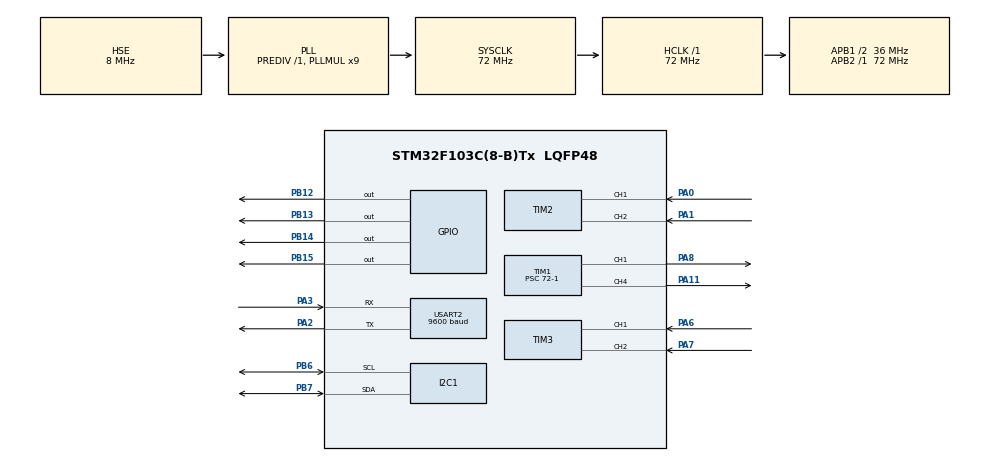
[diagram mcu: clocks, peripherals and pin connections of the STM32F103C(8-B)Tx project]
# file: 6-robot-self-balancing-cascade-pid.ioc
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I2C1.I2C_Mode=I2C_Fast
Mcu.Family=STM32F1
Mcu.Name=STM32F103C(8-B)Tx
Mcu.Package=LQFP48
NVIC.PriorityGroup=NVIC_PRIORITYGROUP_4
NVIC.TIM1_UP_IRQn=true\:0\:0\:false\:false\:true\:true\:true\:true
NVIC.TIM4_IRQn=true\:1\:0\:true\:false\:true\:true\:true\:true
NVIC.USART2_IRQn=true\:2\:0\:true\:false\:true\:true\:true\:true
PA0-WKUP.Signal=S_TIM2_CH1_ETR
PA1.Signal=S_TIM2_CH2
PA11.Signal=S_TIM1_CH4
PA2.Mode=Asynchronous
PA2.Signal=USART2_TX
PA3.Mode=Asynchronous
PA3.Signal=USART2_RX
PA6.Signal=S_TIM3_CH1
PA7.Signal=S_TIM3_CH2
PA8.Signal=S_TIM1_CH1
PB12.GPIO_Speed=GPIO_SPEED_FREQ_HIGH
PB12.Signal=GPIO_Output
PB13.GPIO_Speed=GPIO_SPEED_FREQ_HIGH
PB13.Signal=GPIO_Output
PB14.GPIO_Speed=GPIO_SPEED_FREQ_HIGH
PB14.Signal=GPIO_Output
PB15.GPIO_Speed=GPIO_SPEED_FREQ_HIGH
PB15.Signal=GPIO_Output
PB6.Mode=I2C
PB6.Signal=I2C1_SCL
PB7.Mode=I2C
PB7.Signal=I2C1_SDA
PD0-OSC_IN.Mode=HSE-External-Oscillator
PD0-OSC_IN.Signal=RCC_OSC_IN
PD1-OSC_OUT.Mode=HSE-External-Oscillator
PD1-OSC_OUT.Signal=RCC_OSC_OUT
ProjectManager.HeapSize=0x200
ProjectManager.StackSize=0x400
ProjectManager.TargetToolchain=STM32CubeIDE
RCC.AHBFreq_Value=72000000
RCC.APB1CLKDivider=RCC_HCLK_DIV2
RCC.APB1Freq_Value=36000000
RCC.APB1TimFreq_Value=72000000
RCC.APB2Freq_Value=72000000
RCC.APB2TimFreq_Value=72000000
RCC.HCLKFreq_Value=72000000
RCC.PLLMUL=RCC_PLL_MUL9
RCC.PLLSourceVirtual=RCC_PLLSOURCE_HSE
RCC.SYSCLKFreq_VALUE=72000000
RCC.SYSCLKSource=RCC_SYSCLKSOURCE_PLLCLK
RCC.USBFreq_Value=72000000
SH.S_TIM1_CH1.0=TIM1_CH1,PWM Generation1 CH1
SH.S_TIM1_CH4.0=TIM1_CH4,PWM Generation4 CH4
SH.S_TIM2_CH1_ETR.0=TIM2_CH1,Encoder_Interface
SH.S_TIM2_CH2.0=TIM2_CH2,Encoder_Interface
SH.S_TIM3_CH1.0=TIM3_CH1,Encoder_Interface
SH.S_TIM3_CH2.0=TIM3_CH2,Encoder_Interface
TIM1.Channel-PWM\ Generation1\ CH1=TIM_CHANNEL_1
TIM1.Channel-PWM\ Generation4\ CH4=TIM_CHANNEL_4
TIM1.Period=999
TIM1.Prescaler=72-1
TIM2.IC1Filter=4
TIM3.IC1Filter=4
TIM3.IC2Filter=4
TIM4.AutoReloadPreload=TIM_AUTORELOAD_PRELOAD_ENABLE
TIM4.Period=500-1
TIM4.Prescaler=720-1
USART2.BaudRate=9600
USART2.VirtualMode=VM_ASYNC
VP_SYS_VS_ND.Mode=No_Debug
VP_TIM1_VS_ClockSourceINT.Mode=Internal
VP_TIM4_VS_ClockSourceINT.Mode=Internal
board=custom

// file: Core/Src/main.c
/* USER CODE BEGIN Header */
/**
  ******************************************************************************
  * @file           : main.c
  * @brief          : Main program body
  ******************************************************************************
  * @attention
  *
  * Copyright (c) 2026 STMicroelectronics.
  * All rights reserved.
  *
  * This software is licensed under terms that can be found in the LICENSE file
  * in the root directory of this software component.
  * If no LICENSE file comes with this software, it is provided AS-IS.
  *
  ******************************************************************************
  */
/* USER CODE END Header */
#include "main.h"

/* USER CODE BEGIN Includes */
#include "debug.h"
#include "mpu6050.h"
#include "pid.h"
#include "motor.h"
#include "encoder.h"
#include "ring_buffer.h"
#include "bt_command.h"
#include <stdbool.h>
#include <math.h>
#include <stdio.h>
/* USER CODE END Includes */

/* USER CODE BEGIN PTD */
typedef struct {
    float Tf;
    float state;
    bool  initialized;
} LowPassFilter_t;

/* USER CODE END PTD */

/* USER CODE BEGIN PD */
#define FALL_ANGLE_DEG            45.0f
#define RECOVER_ANGLE_DEG         30.0f
#define STAB_SUPPLY_VOLTAGE        8.0f
#define RAD_TO_DEG                (180.0f / (float)M_PI)
#define PWM_PER_VOLT              ((float)MOTOR_PWM_MAX / STAB_SUPPLY_VOLTAGE)

#define STAB_KP_DEFAULT           (27.0f * PWM_PER_VOLT / RAD_TO_DEG)
#define STAB_KI_DEFAULT           (100.0f * PWM_PER_VOLT / RAD_TO_DEG)
#define STAB_KD_DEFAULT           (1.3f * PWM_PER_VOLT / RAD_TO_DEG)
#define STAB_INTEGRAL_LIMIT        4.0f

#define VEL_KP_DEFAULT             0.04f
#define VEL_KI_DEFAULT             0.0f
#define VEL_KD_DEFAULT             0.0f
#define VEL_INTEGRAL_LIMIT        80.0f
#define TARGET_PITCH_LIMIT_DEG    18.0f
#define STAB_OUTPUT_RAMP_PWM_S  30000.0f
#define VEL_OUTPUT_RAMP_DEG_S    120.0f

#define LPF_PITCH_TF_S             0.07f
#define LPF_THROTTLE_TF_S          0.50f
#define LPF_STEERING_TF_S          0.10f
#define LPF_VELOCITY_TF_S          0.04f
#define VELOCITY_DEADBAND_CPS     80.0f

/* Set the encoder signs so both wheels report forward motion as positive.
   If forward speed still looks wrong in debug, flip one of these signs. */
#define LEFT_ENCODER_SIGN           1.0f
#define RIGHT_ENCODER_SIGN          1.0f

/* Backlash compensation for geared DC motors. Commands inside the entry
   zone are suppressed; larger commands get a kick past static slack. */
#define MOTOR_COMMAND_ZERO_BAND_PWM   8.0f
#define MOTOR_BACKLASH_DEADBAND_PWM  25.0f

/* USER CODE END PD */

I2C_HandleTypeDef hi2c1;

TIM_HandleTypeDef htim1;
TIM_HandleTypeDef htim2;
TIM_HandleTypeDef htim3;
TIM_HandleTypeDef htim4;

UART_HandleTypeDef huart2;

/* USER CODE BEGIN PV */
/* ── Shared application state ───────────────────────────────────────── */
static MPU6050_Data_t  g_imu = {0};
static PID_t           g_stab_pid;
static PID_t           g_vel_pid;
static LowPassFilter_t g_pitch_cmd_lpf;
static LowPassFilter_t g_throttle_lpf;
static LowPassFilter_t g_steering_lpf;
static LowPassFilter_t g_velocity_lpf;
static RingBuffer_t    g_bt_rb;
static float           g_balance_trim_deg = 0.7f;
static volatile float  g_target_pitch_deg = 0.0f;
static volatile float  g_throttle_cmd = 0.0f;
static volatile float  g_steering_cmd = 0.0f;
static volatile float  g_velocity_meas = 0.0f;
static volatile bool   g_fall_detected = false;

/* Last PID output – written by TIM4 ISR, read by main loop for debug */
static volatile float g_pid_output = 0.0f;
/* Single-byte DMA-free UART RX buffer (re-armed in callback) */
static uint8_t s_uart_rx_byte;

/* USER CODE END PV */

void SystemClock_Config(void);
static void MX_GPIO_Init(void);
static void MX_I2C1_Init(void);
static void MX_TIM1_Init(void);
static void MX_TIM4_Init(void);
static void MX_USART2_UART_Init(void);
static void MX_TIM2_Init(void);
static void MX_TIM3_Init(void);
/* USER CODE BEGIN PFP */
static void apply_bt_command(const BT_Command_t *cmd);
static void low_pass_init(LowPassFilter_t *filter, float tf);
static float low_pass_apply(LowPassFilter_t *filter, float input, float dt);
static float compensate_motor_pwm(float command_pwm);
static void reset_control_state(void);
/* USER CODE END PFP */

/* USER CODE BEGIN 0 */
static void low_pass_init(LowPassFilter_t *filter, float tf)
{
    filter->Tf = tf;
    filter->state = 0.0f;
    filter->initialized = false;
}

static float low_pass_apply(LowPassFilter_t *filter, float input, float dt)
{
    if (filter->Tf <= 0.0f) {
        filter->state = input;
        filter->initialized = true;
        return input;
    }

    if (!filter->initialized) {
        filter->state = input;
        filter->initialized = true;
        return input;
    }

    filter->state += (dt / (filter->Tf + dt)) * (input - filter->state);
    return filter->state;
}

static float compensate_motor_pwm(float command_pwm)
{
    float magnitude = fabsf(command_pwm);

    if (magnitude <= MOTOR_COMMAND_ZERO_BAND_PWM) {
        return 0.0f;
    }

    if (magnitude >= (float)MOTOR_PWM_MAX) {
        return (command_pwm > 0.0f) ? (float)MOTOR_PWM_MAX : -(float)MOTOR_PWM_MAX;
    }

    magnitude = MOTOR_BACKLASH_DEADBAND_PWM +
                ((magnitude - MOTOR_COMMAND_ZERO_BAND_PWM) *
                 ((float)MOTOR_PWM_MAX - MOTOR_BACKLASH_DEADBAND_PWM) /
                 ((float)MOTOR_PWM_MAX - MOTOR_COMMAND_ZERO_BAND_PWM));

    return (command_pwm > 0.0f) ? magnitude : -magnitude;
}

static void reset_control_state(void)
{
    PID_Reset(&g_stab_pid);
    PID_Reset(&g_vel_pid);
    low_pass_init(&g_pitch_cmd_lpf, LPF_PITCH_TF_S);
    low_pass_init(&g_throttle_lpf, LPF_THROTTLE_TF_S);
    low_pass_init(&g_steering_lpf, LPF_STEERING_TF_S);
    low_pass_init(&g_velocity_lpf, LPF_VELOCITY_TF_S);
    g_target_pitch_deg = g_balance_trim_deg;
    g_pid_output = 0.0f;
    g_velocity_meas = 0.0f;
}

/* USER CODE END 0 */

int main(void)
{

  /* MCU Configuration--------------------------------------------------------*/

  /* Reset of all peripherals, Initializes the Flash interface and the Systick. */
  HAL_Init();

  /* Configure the system clock */
  SystemClock_Config();

  /* Initialize all configured peripherals */
  MX_GPIO_Init();
  MX_I2C1_Init();
  MX_TIM1_Init();
  MX_TIM4_Init();
  MX_USART2_UART_Init();
  MX_TIM2_Init();
  MX_TIM3_Init();
  /* USER CODE BEGIN 2 */
  rb_init(&g_bt_rb);

  Debug_Init(&huart2);

   /* Wait until MPU6050 responds on I2C */
   while (!MPU6050_Init(&hi2c1)) {
       HAL_Delay(100);
   }
   Debug_Print("MPU6050 OK\r\n");

   /* Arduino-FOC-balancer style cascade:
      velocity PID -> target pitch -> stabilisation PID -> motor PWM */
   PID_Init(&g_stab_pid,
            STAB_KP_DEFAULT,
            STAB_KI_DEFAULT,
            STAB_KD_DEFAULT,
            STAB_INTEGRAL_LIMIT,
            (float)MOTOR_PWM_MAX,
            STAB_OUTPUT_RAMP_PWM_S);
   PID_Init(&g_vel_pid,
            VEL_KP_DEFAULT,
            VEL_KI_DEFAULT,
            VEL_KD_DEFAULT,
            VEL_INTEGRAL_LIMIT,
            TARGET_PITCH_LIMIT_DEG,
            VEL_OUTPUT_RAMP_DEG_S);
   reset_control_state();

   Encoder_Start();   // starts TIM2 + TIM3 in encoder mode

   /* Start PWM outputs on TIM1 CH1 (PA8) and CH4 (PA11) */
   HAL_TIM_PWM_Start(&htim1, MOTOR_B_PWM_CH);   // CH1 → PA8  = PWMB
   HAL_TIM_PWM_Start(&htim1, MOTOR_A_PWM_CH);   // CH4 → PA11 = PWMA
   Motor_Stop();

   /* Arm USART2 RX interrupt */
   HAL_UART_Receive_IT(&huart2, &s_uart_rx_byte, 1);

   /* Start 200 Hz control-loop timer (TIM4) */
   HAL_TIM_Base_Start_IT(&htim4);
  /* USER CODE END 2 */

  /* Infinite loop */
  while (1)
  {

    /* USER CODE BEGIN 3 */
	  	  	  /* 1. Parse any complete BT command from ring buffer */
	          BT_Command_t cmd;
	          if (BT_Parse(&g_bt_rb, &cmd)) {
	              apply_bt_command(&cmd);
	          }

	          /* 2. Report fall state changes once, while the ISR keeps outputs safe. */
	          static bool prev_fall_detected = false;
	          if (g_fall_detected != prev_fall_detected) {
	              prev_fall_detected = g_fall_detected;
	              Debug_Print(g_fall_detected ? "FALL DETECTED\r\n"
	                                          : "Recovered - balance loop re-armed\r\n");
	          }

	          /* 3. Optional telemetry – uncomment to stream angle over BT
	          static uint32_t last_tx = 0;
	          if (HAL_GetTick() - last_tx >= 100) {
	              last_tx = HAL_GetTick();
	              char buf[48];
	              int n = snprintf(buf, sizeof(buf), "A:%.2f L:%ld R:%ld\r\n",
	                               g_imu.angle, enc_left.count, enc_right.count);
	              HAL_UART_Transmit(&huart2, (uint8_t *)buf, n, 10);
	          }
	          */

	          /* 3. Stream debug data over Bluetooth every DEBUG_INTERVAL_MS */
	                  Debug_Update(g_imu.angle,
	                               g_imu.gyro_rate,
	                               g_imu.accel_angle,
	                               g_pid_output,
	                               enc_left.delta,
	                               enc_right.delta,
	                               g_target_pitch_deg,
	                               g_stab_pid.Kp,
	                               g_stab_pid.Ki,
	                               g_stab_pid.Kd);
	/* 4. Sleep until next interrupt */
	__WFI();
  }
  /* USER CODE END 3 */
}

void SystemClock_Config(void)
{
  RCC_OscInitTypeDef RCC_OscInitStruct = {0};
  RCC_ClkInitTypeDef RCC_ClkInitStruct = {0};

  /** Initializes the RCC Oscillators according to the specified parameters
  * in the RCC_OscInitTypeDef structure.
  */
  RCC_OscInitStruct.OscillatorType = RCC_OSCILLATORTYPE_HSE;
  RCC_OscInitStruct.HSEState = RCC_HSE_ON;
  RCC_OscInitStruct.HSEPredivValue = RCC_HSE_PREDIV_DIV1;
  RCC_OscInitStruct.HSIState = RCC_HSI_ON;
  RCC_OscInitStruct.PLL.PLLState = RCC_PLL_ON;
  RCC_OscInitStruct.PLL.PLLSource = RCC_PLLSOURCE_HSE;
  RCC_OscInitStruct.PLL.PLLMUL = RCC_PLL_MUL9;
  if (HAL_RCC_OscConfig(&RCC_OscInitStruct) != HAL_OK)
  {
    Error_Handler();
  }

  /** Initializes the CPU, AHB and APB buses clocks
  */
  RCC_ClkInitStruct.ClockType = RCC_CLOCKTYPE_HCLK|RCC_CLOCKTYPE_SYSCLK
                              |RCC_CLOCKTYPE_PCLK1|RCC_CLOCKTYPE_PCLK2;
  RCC_ClkInitStruct.SYSCLKSource = RCC_SYSCLKSOURCE_PLLCLK;
  RCC_ClkInitStruct.AHBCLKDivider = RCC_SYSCLK_DIV1;
  RCC_ClkInitStruct.APB1CLKDivider = RCC_HCLK_DIV2;
  RCC_ClkInitStruct.APB2CLKDivider = RCC_HCLK_DIV1;

  if (HAL_RCC_ClockConfig(&RCC_ClkInitStruct, FLASH_LATENCY_2) != HAL_OK)
  {
    Error_Handler();
  }
}

static void MX_I2C1_Init(void)
{

  hi2c1.Instance = I2C1;
  hi2c1.Init.ClockSpeed = 400000;
  hi2c1.Init.DutyCycle = I2C_DUTYCYCLE_2;
  hi2c1.Init.OwnAddress1 = 0;
  hi2c1.Init.AddressingMode = I2C_ADDRESSINGMODE_7BIT;
  hi2c1.Init.DualAddressMode = I2C_DUALADDRESS_DISABLE;
  hi2c1.Init.OwnAddress2 = 0;
  hi2c1.Init.GeneralCallMode = I2C_GENERALCALL_DISABLE;
  hi2c1.Init.NoStretchMode = I2C_NOSTRETCH_DISABLE;
  if (HAL_I2C_Init(&hi2c1) != HAL_OK)
  {
    Error_Handler();
  }

}

static void MX_TIM1_Init(void)
{

  TIM_ClockConfigTypeDef sClockSourceConfig = {0};
  TIM_MasterConfigTypeDef sMasterConfig = {0};
  TIM_OC_InitTypeDef sConfigOC = {0};
  TIM_BreakDeadTimeConfigTypeDef sBreakDeadTimeConfig = {0};

  htim1.Instance = TIM1;
  htim1.Init.Prescaler = 72-1;
  htim1.Init.CounterMode = TIM_COUNTERMODE_UP;
  htim1.Init.Period = 999;
  htim1.Init.ClockDivision = TIM_CLOCKDIVISION_DIV1;
  htim1.Init.RepetitionCounter = 0;
  htim1.Init.AutoReloadPreload = TIM_AUTORELOAD_PRELOAD_DISABLE;
  if (HAL_TIM_Base_Init(&htim1) != HAL_OK)
  {
    Error_Handler();
  }
  sClockSourceConfig.ClockSource = TIM_CLOCKSOURCE_INTERNAL;
  if (HAL_TIM_ConfigClockSource(&htim1, &sClockSourceConfig) != HAL_OK)
  {
    Error_Handler();
  }
  if (HAL_TIM_PWM_Init(&htim1) != HAL_OK)
  {
    Error_Handler();
  }
  sMasterConfig.MasterOutputTrigger = TIM_TRGO_RESET;
  sMasterConfig.MasterSlaveMode = TIM_MASTERSLAVEMODE_DISABLE;
  if (HAL_TIMEx_MasterConfigSynchronization(&htim1, &sMasterConfig) != HAL_OK)
  {
    Error_Handler();
  }
  sConfigOC.OCMode = TIM_OCMODE_PWM1;
  sConfigOC.Pulse = 0;
  sConfigOC.OCPolarity = TIM_OCPOLARITY_HIGH;
  sConfigOC.OCNPolarity = TIM_OCNPOLARITY_HIGH;
  sConfigOC.OCFastMode = TIM_OCFAST_DISABLE;
  sConfigOC.OCIdleState = TIM_OCIDLESTATE_RESET;
  sConfigOC.OCNIdleState = TIM_OCNIDLESTATE_RESET;
  if (HAL_TIM_PWM_ConfigChannel(&htim1, &sConfigOC, TIM_CHANNEL_1) != HAL_OK)
  {
    Error_Handler();
  }
  if (HAL_TIM_PWM_ConfigChannel(&htim1, &sConfigOC, TIM_CHANNEL_4) != HAL_OK)
  {
    Error_Handler();
  }
  sBreakDeadTimeConfig.OffStateRunMode = TIM_OSSR_DISABLE;
  sBreakDeadTimeConfig.OffStateIDLEMode = TIM_OSSI_DISABLE;
  sBreakDeadTimeConfig.LockLevel = TIM_LOCKLEVEL_OFF;
  sBreakDeadTimeConfig.DeadTime = 0;
  sBreakDeadTimeConfig.BreakState = TIM_BREAK_DISABLE;
  sBreakDeadTimeConfig.BreakPolarity = TIM_BREAKPOLARITY_HIGH;
  sBreakDeadTimeConfig.AutomaticOutput = TIM_AUTOMATICOUTPUT_DISABLE;
  if (HAL_TIMEx_ConfigBreakDeadTime(&htim1, &sBreakDeadTimeConfig) != HAL_OK)
  {
    Error_Handler();
  }
  /* USER CODE BEGIN TIM1_Init 2 */
  __HAL_TIM_MOE_ENABLE(&htim1);
  /* USER CODE END TIM1_Init 2 */
  HAL_TIM_MspPostInit(&htim1);

}

static void MX_TIM2_Init(void)
{

  TIM_Encoder_InitTypeDef sConfig = {0};
  TIM_MasterConfigTypeDef sMasterConfig = {0};

  htim2.Instance = TIM2;
  htim2.Init.Prescaler = 0;
  htim2.Init.CounterMode = TIM_COUNTERMODE_UP;
  htim2.Init.Period = 65535;
  htim2.Init.ClockDivision = TIM_CLOCKDIVISION_DIV1;
  htim2.Init.AutoReloadPreload = TIM_AUTORELOAD_PRELOAD_DISABLE;
  sConfig.EncoderMode = TIM_ENCODERMODE_TI1;
  sConfig.IC1Polarity = TIM_ICPOLARITY_RISING;
  sConfig.IC1Selection = TIM_ICSELECTION_DIRECTTI;
  sConfig.IC1Prescaler = TIM_ICPSC_DIV1;
  sConfig.IC1Filter = 4;
  sConfig.IC2Polarity = TIM_ICPOLARITY_RISING;
  sConfig.IC2Selection = TIM_ICSELECTION_DIRECTTI;
  sConfig.IC2Prescaler = TIM_ICPSC_DIV1;
  sConfig.IC2Filter = 0;
  if (HAL_TIM_Encoder_Init(&htim2, &sConfig) != HAL_OK)
  {
    Error_Handler();
  }
  sMasterConfig.MasterOutputTrigger = TIM_TRGO_RESET;
  sMasterConfig.MasterSlaveMode = TIM_MASTERSLAVEMODE_DISABLE;
  if (HAL_TIMEx_MasterConfigSynchronization(&htim2, &sMasterConfig) != HAL_OK)
  {
    Error_Handler();
  }

}

static void MX_TIM3_Init(void)
{

  TIM_Encoder_InitTypeDef sConfig = {0};
  TIM_MasterConfigTypeDef sMasterConfig = {0};

  htim3.Instance = TIM3;
  htim3.Init.Prescaler = 0;
  htim3.Init.CounterMode = TIM_COUNTERMODE_UP;
  htim3.Init.Period = 65535;
  htim3.Init.ClockDivision = TIM_CLOCKDIVISION_DIV1;
  htim3.Init.AutoReloadPreload = TIM_AUTORELOAD_PRELOAD_DISABLE;
  sConfig.EncoderMode = TIM_ENCODERMODE_TI1;
  sConfig.IC1Polarity = TIM_ICPOLARITY_RISING;
  sConfig.IC1Selection = TIM_ICSELECTION_DIRECTTI;
  sConfig.IC1Prescaler = TIM_ICPSC_DIV1;
  sConfig.IC1Filter = 4;
  sConfig.IC2Polarity = TIM_ICPOLARITY_RISING;
  sConfig.IC2Selection = TIM_ICSELECTION_DIRECTTI;
  sConfig.IC2Prescaler = TIM_ICPSC_DIV1;
  sConfig.IC2Filter = 4;
  if (HAL_TIM_Encoder_Init(&htim3, &sConfig) != HAL_OK)
  {
    Error_Handler();
  }
  sMasterConfig.MasterOutputTrigger = TIM_TRGO_RESET;
  sMasterConfig.MasterSlaveMode = TIM_MASTERSLAVEMODE_DISABLE;
  if (HAL_TIMEx_MasterConfigSynchronization(&htim3, &sMasterConfig) != HAL_OK)
  {
    Error_Handler();
  }

}

static void MX_TIM4_Init(void)
{

  TIM_ClockConfigTypeDef sClockSourceConfig = {0};
  TIM_MasterConfigTypeDef sMasterConfig = {0};

  htim4.Instance = TIM4;
  htim4.Init.Prescaler = 720-1;
  htim4.Init.CounterMode = TIM_COUNTERMODE_UP;
  htim4.Init.Period = 500-1;
  htim4.Init.ClockDivision = TIM_CLOCKDIVISION_DIV1;
  htim4.Init.AutoReloadPreload = TIM_AUTORELOAD_PRELOAD_ENABLE;
  if (HAL_TIM_Base_Init(&htim4) != HAL_OK)
  {
    Error_Handler();
  }
  sClockSourceConfig.ClockSource = TIM_CLOCKSOURCE_INTERNAL;
  if (HAL_TIM_ConfigClockSource(&htim4, &sClockSourceConfig) != HAL_OK)
  {
    Error_Handler();
  }
  sMasterConfig.MasterOutputTrigger = TIM_TRGO_RESET;
  sMasterConfig.MasterSlaveMode = TIM_MASTERSLAVEMODE_DISABLE;
  if (HAL_TIMEx_MasterConfigSynchronization(&htim4, &sMasterConfig) != HAL_OK)
  {
    Error_Handler();
  }

}

static void MX_USART2_UART_Init(void)
{

  huart2.Instance = USART2;
  huart2.Init.BaudRate = 9600;
  huart2.Init.WordLength = UART_WORDLENGTH_8B;
  huart2.Init.StopBits = UART_STOPBITS_1;
  huart2.Init.Parity = UART_PARITY_NONE;
  huart2.Init.Mode = UART_MODE_TX_RX;
  huart2.Init.HwFlowCtl = UART_HWCONTROL_NONE;
  huart2.Init.OverSampling = UART_OVERSAMPLING_16;
  if (HAL_UART_Init(&huart2) != HAL_OK)
  {
    Error_Handler();
  }

}

static void MX_GPIO_Init(void)
{
  GPIO_InitTypeDef GPIO_InitStruct = {0};

  /* GPIO Ports Clock Enable */
  __HAL_RCC_GPIOD_CLK_ENABLE();
  __HAL_RCC_GPIOA_CLK_ENABLE();
  __HAL_RCC_GPIOB_CLK_ENABLE();

  /*Configure GPIO pin Output Level */
  HAL_GPIO_WritePin(GPIOB, GPIO_PIN_12|GPIO_PIN_13|GPIO_PIN_14|GPIO_PIN_15, GPIO_PIN_RESET);

  /*Configure GPIO pins : PB12 PB13 PB14 PB15 */
  GPIO_InitStruct.Pin = GPIO_PIN_12|GPIO_PIN_13|GPIO_PIN_14|GPIO_PIN_15;
  GPIO_InitStruct.Mode = GPIO_MODE_OUTPUT_PP;
  GPIO_InitStruct.Pull = GPIO_NOPULL;
  GPIO_InitStruct.Speed = GPIO_SPEED_FREQ_HIGH;
  HAL_GPIO_Init(GPIOB, &GPIO_InitStruct);

}

/* USER CODE BEGIN 4 */
/* ═══════════════════════════════════════════════════════════════════════
   TIM4 PERIOD ELAPSED IRQ  –  200 Hz CONTROL LOOP  (every 5 ms)
   ═══════════════════════════════════════════════════════════════════════ */
void HAL_TIM_PeriodElapsedCallback(TIM_HandleTypeDef *htim)
{
    if (htim->Instance != TIM4) return;

    /* Step 1 – Snapshot encoder deltas (hardware counted, we just diff) */
    Encoder_Update();

    /* Step 2 – Read IMU and refresh DMP pitch/roll/yaw plus raw gyro
                and accel debug signals for the balance loop.             */
    MPU6050_Update(&hi2c1, &g_imu, CONTROL_LOOP_DT);

    if (fabsf(g_imu.angle) >= FALL_ANGLE_DEG) {
        g_fall_detected = true;
        reset_control_state();
        Motor_Stop();
        return;
    }

    if (g_fall_detected && fabsf(g_imu.angle) <= RECOVER_ANGLE_DEG) {
        g_fall_detected = false;
        reset_control_state();
    }

    /* Arduino reference logic:
       filtered throttle -> velocity PID -> filtered target pitch ->
       stabilisation PID -> motor PWM, plus filtered steering trim. */
    float left_velocity = LEFT_ENCODER_SIGN * ((float)enc_left.delta / CONTROL_LOOP_DT);
    float right_velocity = RIGHT_ENCODER_SIGN * ((float)enc_right.delta / CONTROL_LOOP_DT);
    g_velocity_meas = low_pass_apply(&g_velocity_lpf,
                                     0.5f * (left_velocity + right_velocity),
                                     CONTROL_LOOP_DT);
    if (fabsf(g_velocity_meas) < VELOCITY_DEADBAND_CPS) {
        g_velocity_meas = 0.0f;
    }

    float throttle_cmd = low_pass_apply(&g_throttle_lpf, g_throttle_cmd, CONTROL_LOOP_DT);
    float target_pitch = PID_Compute(&g_vel_pid,
                                     throttle_cmd,
                                     g_velocity_meas,
                                     CONTROL_LOOP_DT);
    target_pitch = g_balance_trim_deg +
                   low_pass_apply(&g_pitch_cmd_lpf, target_pitch, CONTROL_LOOP_DT);

    float drive_pwm = PID_Compute(&g_stab_pid,
                                  target_pitch,
                                  g_imu.angle,
                                  CONTROL_LOOP_DT);
    float steering_pwm = low_pass_apply(&g_steering_lpf, g_steering_cmd, CONTROL_LOOP_DT);
    float left_pwm = compensate_motor_pwm(drive_pwm + steering_pwm);
    float right_pwm = compensate_motor_pwm(drive_pwm - steering_pwm);

    g_target_pitch_deg = target_pitch;
    g_pid_output = drive_pwm;

    Motor_Set((int32_t)left_pwm,
              (int32_t)right_pwm);
}

/* ═══════════════════════════════════════════════════════════════════════
   USART2 RX COMPLETE IRQ  –  JDY-23 Bluetooth
   One byte at a time → ring buffer → parsed in main loop
   ═══════════════════════════════════════════════════════════════════════ */
void HAL_UART_RxCpltCallback(UART_HandleTypeDef *huart)
{
    if (huart->Instance != USART2) return;
    rb_push(&g_bt_rb, s_uart_rx_byte);
    HAL_UART_Receive_IT(&huart2, &s_uart_rx_byte, 1);  // re-arm
}

/* ═══════════════════════════════════════════════════════════════════════
   BT COMMAND APPLICATION  (main loop only, never from ISR)
   ═══════════════════════════════════════════════════════════════════════ */
static void apply_bt_command(const BT_Command_t *cmd)
{
    char buf[64];
    switch (cmd->type) {
        case BT_CMD_FORWARD:
            g_throttle_cmd = cmd->value;
            snprintf(buf, sizeof(buf), "CMD: Forward throttle %.1f\r\n", cmd->value);
            Debug_Print(buf);
            break;
        case BT_CMD_BACKWARD:
            g_throttle_cmd = -cmd->value;
            snprintf(buf, sizeof(buf), "CMD: Backward throttle %.1f\r\n", cmd->value);
            Debug_Print(buf);
            break;
        case BT_CMD_STOP:
            g_throttle_cmd = 0.0f;
            g_steering_cmd = 0.0f;
            reset_control_state();
            Debug_Print("CMD: Stop\r\n");
            break;
        case BT_CMD_SET_KP:
            g_stab_pid.Kp = cmd->value;
            snprintf(buf, sizeof(buf), "SET stab Kp=%.3f\r\n", cmd->value);
            Debug_Print(buf);
            break;
        case BT_CMD_SET_KI:
            g_stab_pid.Ki = cmd->value;
            PID_Reset(&g_stab_pid);
            snprintf(buf, sizeof(buf), "SET stab Ki=%.3f (integral reset)\r\n", cmd->value);
            Debug_Print(buf);
            break;
        case BT_CMD_SET_KD:
            g_stab_pid.Kd = cmd->value;
            snprintf(buf, sizeof(buf), "SET stab Kd=%.3f\r\n", cmd->value);
            Debug_Print(buf);
            break;
        case BT_CMD_SET_ANGLE_OFFSET:
            g_balance_trim_deg = cmd->value;
            reset_control_state();
            snprintf(buf, sizeof(buf), "SET balance trim=%.2f deg\r\n", cmd->value);
            Debug_Print(buf);
            break;
        case BT_CMD_SET_THROTTLE:
            g_throttle_cmd = cmd->value;
            snprintf(buf, sizeof(buf), "SET throttle=%.2f\r\n", cmd->value);
            Debug_Print(buf);
            break;
        case BT_CMD_SET_STEERING:
            g_steering_cmd = cmd->value;
            snprintf(buf, sizeof(buf), "SET steering=%.2f\r\n", cmd->value);
            Debug_Print(buf);
            break;
        case BT_CMD_SET_VEL_KP:
            g_vel_pid.Kp = cmd->value;
            snprintf(buf, sizeof(buf), "SET vel Kp=%.3f\r\n", cmd->value);
            Debug_Print(buf);
            break;
        case BT_CMD_SET_VEL_KI:
            g_vel_pid.Ki = cmd->value;
            PID_Reset(&g_vel_pid);
            snprintf(buf, sizeof(buf), "SET vel Ki=%.3f (integral reset)\r\n", cmd->value);
            Debug_Print(buf);
            break;
        case BT_CMD_SET_VEL_KD:
            g_vel_pid.Kd = cmd->value;
            snprintf(buf, sizeof(buf), "SET vel Kd=%.3f\r\n", cmd->value);
            Debug_Print(buf);
            break;
        default:
            Debug_Print("CMD: Unknown\r\n");
            break;
    }
}
/* USER CODE END 4 */

void Error_Handler(void)
{
  __disable_irq();
  while (1)
  {
  }
}
